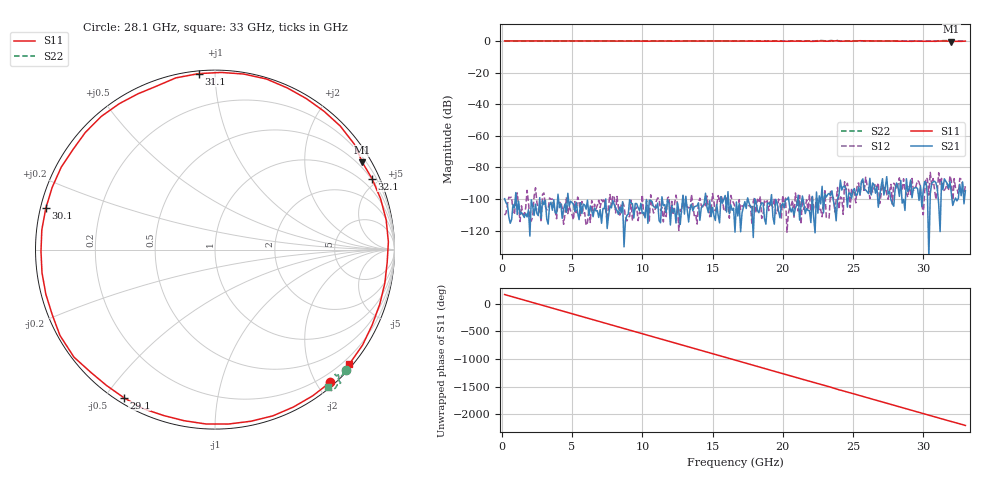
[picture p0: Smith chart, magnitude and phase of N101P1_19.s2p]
# GHZ S RI R 50
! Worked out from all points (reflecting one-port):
!   329 points, 200 MHz to 33 GHz, reference 50 ohm
!   lowest |S11| = -0.4 dB at 32 GHz (marker M1), VSWR 42.62, Z = 16.6 + j181 ohm
!   phase of S11 starts at 165 deg and turns -2366 deg over the sweep
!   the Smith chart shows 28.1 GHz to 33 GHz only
!   S11 on the Smith chart (normalised r, x): 28.1 GHz: 0.06, -2.19; 29.1 GHz: 0.02, -0.56; 30.1 GHz: 0.02, +0.12; 31.1 GHz: 0.01, +0.91; 32.1 GHz: 0.46, +4.60; 33 GHz: 0.07, -2.71
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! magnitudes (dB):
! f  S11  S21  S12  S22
! 200 MHz  0.0  -99.7  -110.2  0.0
! 5.7 GHz  0.0  -109.1  -101.5  0.0
! 11.2 GHz  -0.1  -113.7  -99.8  -0.1
! 16.6 GHz  -0.1  -120.9  -104.9  0.0
! 22.1 GHz  -0.3  -98.3  -97.6  -0.1
! 22.6 GHz  -0.1  -97.9  -107.5  0.3
! 23 GHz  -0.2  -96.6  -94.7  -0.1
! 23.9 GHz  0.2  -99.9  -92.7  0.2
! 24.1 GHz  -0.3  -88.0  -98.6  -0.1
! 24.5 GHz  -0.1  -94.2  -93.8  0.0
! 24.9 GHz  -0.3  -99.5  -93.4  0.0
! 25.5 GHz  0.1  -97.0  -97.6  0.0
! 27.6 GHz  -0.2  -95.1  -94.9  -0.1
! 28.1 GHz  -0.2  -89.8  -93.6  -0.1
! 29.1 GHz  -0.3  -87.9  -97.1  -0.1
! 29.4 GHz  -0.1  -92.9  -94.0  0.0
! 30.1 GHz  -0.3  -88.8  -95.4  -0.3
! 31.1 GHz  -0.1  -103.0  -83.3  0.0
! 31.8 GHz  -0.2  -93.2  -94.7  0.2
! 32 GHz  -0.4  -96.6  -88.4  -0.1
! 32.1 GHz  -0.4  -104.0  -103.3  -0.1
! 33 GHz  -0.1  -94.6  -91.4  -0.1
